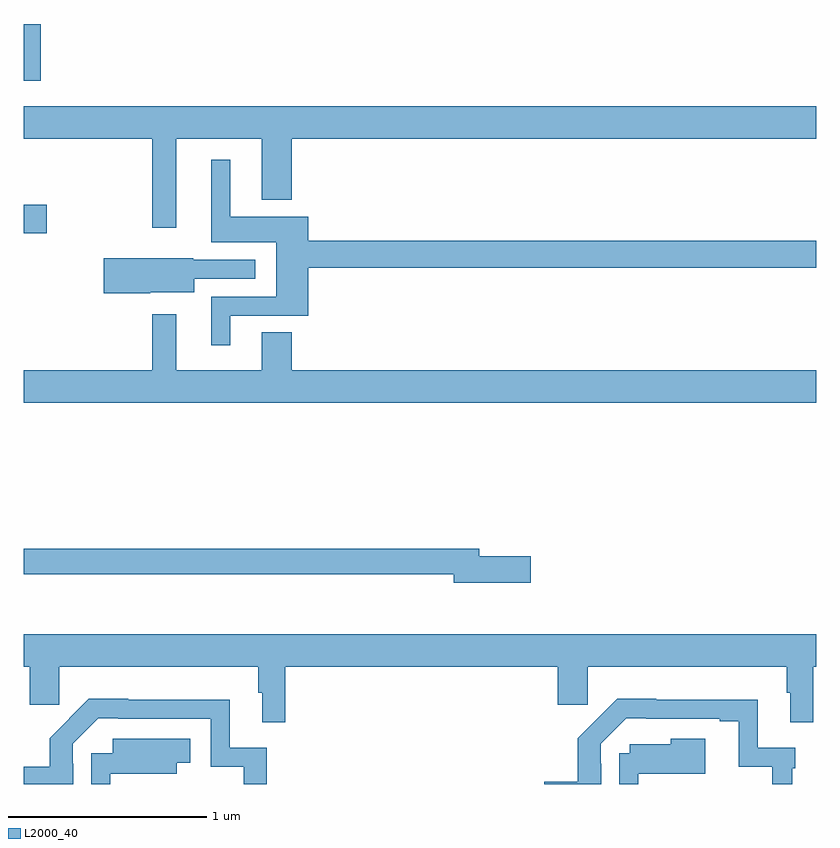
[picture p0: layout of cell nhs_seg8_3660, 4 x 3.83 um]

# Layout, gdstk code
import gdstk
lib = gdstk.Library(unit=1e-6, precision=1e-09)
def R(c, l, rs):  # rectangles x0, y0, x1, y1
    for r in rs: c.add(gdstk.rectangle(r[:2], r[2:], *l))
def P(c, l, *ps):  # polygons
    for p in ps: c.add(gdstk.Polygon(p, *l))
L2000_40 = (2000, 40)

nhs_seg8_3660 = lib.new_cell('nhs_seg8_3660')
R(nhs_seg8_3660, L2000_40, [(337,1126.679,337.117,1126.821), (337,1127.448,337.088,1127.734)])
P(nhs_seg8_3660, L2000_40, [(337.771,1127.156),(338.201,1127.156),(338.201,1126.847),(338.354,1126.847),(338.354,1127.156),(341,1127.156),(341,1127.32),(337,1127.32),(337,1127.156),(337.65,1127.156),(337.65,1126.707),(337.771,1126.707)],
  [(338.044,1126.263),(338.435,1126.263),(338.435,1126.504),(341,1126.504),(341,1126.64),(338.435,1126.64),(338.435,1126.762),(338.044,1126.762),(338.044,1127.05),(337.946,1127.05),(337.946,1126.634),(338.276,1126.634),(338.276,1126.359),(337.946,1126.359),(337.946,1126.113),(338.044,1126.113)],
  [(337.638,1126.382),(337.861,1126.382),(337.861,1126.449),(338.17,1126.449),(338.17,1126.545),(337.857,1126.545),(337.857,1126.553),(337.404,1126.553),(337.404,1126.375),(337.638,1126.375)],
  [(341,1125.988),(338.354,1125.988),(338.354,1126.178),(338.201,1126.178),(338.201,1125.988),(337.771,1125.988),(337.771,1126.27),(337.65,1126.27),(337.65,1125.988),(337,1125.988),(337,1125.824),(341,1125.824)],
  [(339.559,1125.05),(339.298,1125.05),(339.298,1125.086),(337,1125.086),(337,1124.958),(339.17,1124.958),(339.17,1124.915),(339.559,1124.915)],
  [(338.321,1124.492),(339.695,1124.492),(339.695,1124.301),(339.845,1124.301),(339.845,1124.492),(340.849,1124.492),(340.849,1124.36),(340.868,1124.36),(340.868,1124.211),(340.985,1124.211),(340.985,1124.492),(341,1124.492),(341,1124.656),(337,1124.656),(337,1124.492),(337.031,1124.492),(337.031,1124.301),(337.181,1124.301),(337.181,1124.492),(338.185,1124.492),(338.185,1124.36),(338.204,1124.36),(338.204,1124.211),(338.321,1124.211)],
  [(337.251,1124.003),(337.248,1124.003),(337.248,1124.103),(337.377,1124.232),(337.477,1124.232),(337.477,1124.229),(337.944,1124.229),(337.944,1123.986),(338.112,1123.986),(338.112,1123.9),(338.228,1123.9),(338.228,1124.082),(338.041,1124.082),(338.041,1124.326),(337.529,1124.326),(337.529,1124.329),(337.33,1124.329),(337.133,1124.131),(337.133,1123.987),(337,1123.987),(337,1123.9),(337.251,1123.9)],
  [(339.915,1124.003),(339.912,1124.003),(339.912,1124.103),(340.04,1124.231),(340.141,1124.231),(340.141,1124.229),(340.511,1124.229),(340.511,1124.217),(340.607,1124.217),(340.607,1123.986),(340.776,1123.986),(340.776,1123.9),(340.877,1123.9),(340.877,1123.979),(340.892,1123.979),(340.892,1124.082),(340.705,1124.082),(340.705,1124.326),(340.193,1124.326),(340.193,1124.329),(339.994,1124.329),(339.797,1124.131),(339.797,1123.912),(339.626,1123.912),(339.626,1123.9),(339.915,1123.9)],
  [(337.437,1123.952),(337.774,1123.952),(337.774,1124.006),(337.84,1124.006),(337.84,1124.128),(337.451,1124.128),(337.451,1124.055),(337.341,1124.055),(337.341,1123.9),(337.437,1123.9)],
  [(340.101,1123.952),(340.438,1123.952),(340.438,1124.128),(340.266,1124.128),(340.266,1124.101),(340.059,1124.101),(340.059,1124.055),(340.005,1124.055),(340.005,1123.9),(340.101,1123.9)])

lib.write_gds('nhs_seg8_3660.gds')
